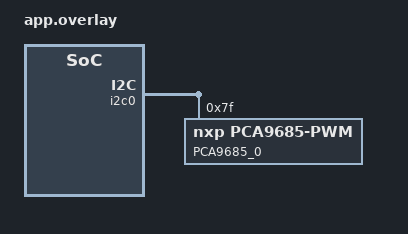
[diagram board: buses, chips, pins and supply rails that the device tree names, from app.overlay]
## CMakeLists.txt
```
cmake_minimum_required(VERSION 3.22)
set(CMAKE_EXPORT_COMPILE_COMMANDS ON)
set(BOARD esp32)
find_package(Zephyr REQUIRED HINTS $ENV{ZEPHYR_BASE})
project(SpiderBot)

set(SRCS
    src/main.c
    src/servos.c
    src/gait.c
    src/robot_state.c
    src/threads/tcp_server_thread.c
    src/threads/motors_thread.c
    src/threads/gait_thread.c)

include_directories(app PRIVATE include/)

zephyr_include_directories(${CMAKE_CURRENT_SOURCE_DIR})

# set(KCONFIG_ROOT ${CMAKE_CURRENT_SOURCE_DIR}/Kconfig)

target_sources(app PRIVATE ${SRCS})
```

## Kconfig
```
# Include the base Zephyr Kconfig definitions
rsource "$ZEPHYR_BASE/Kconfig.zephyr"

# Include our Wi-Fi secrets config symbols
rsource "Kconfig.secrets"
```

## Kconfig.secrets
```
menu "Wi-Fi configuration"

config MY_WIFI_SSID
    string "Wi-Fi SSID"
    default ""

config MY_WIFI_PSK
    string "Wi-Fi password"
    default ""

endmenu
```

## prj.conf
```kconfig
#include "config_secrets.conf"
CONFIG_GPIO=y
CONFIG_GPIO_ESP32=y

# Core Zephyr features
CONFIG_NEWLIB_LIBC=y       # Use standard C library (good for float math in gait)
CONFIG_LOG=y               # Enable logging for debugging

# PCA96850
CONFIG_PWM=y               # Enable the generic Zephyr PWM API
CONFIG_I2C=y

# Increase stack size for the main application thread (good practice)
CONFIG_MAIN_STACK_SIZE=4096

# Print floating point value
CONFIG_CBPRINTF_FP_SUPPORT=y

# Accommodate the burst of debug prints.
CONFIG_LOG_BUFFER_SIZE=1024

#WIFI (from https://github.com/craigpeacock/Zephyr_WiFi/blob/main/prj.conf)
CONFIG_WIFI=y
CONFIG_INIT_STACKS=y
CONFIG_NET_L2_WIFI_MGMT=y

CONFIG_NETWORKING=y
CONFIG_NET_IPV4=y
CONFIG_NET_IPV6=y
CONFIG_NET_UDP=y
CONFIG_NET_TCP=y
CONFIG_DNS_RESOLVER=y
CONFIG_DNS_RESOLVER_AI_MAX_ENTRIES=10

CONFIG_NET_SOCKETS=y
CONFIG_HTTP_CLIENT=y

# Use DHCP for IPv4
CONFIG_NET_DHCPV4=y

# Following line must be enabled, otherwise WiFi connection fails with -1.
CONFIG_NET_CONFIG_SETTINGS=y
# Add CONFIG_INIT_TIMEOUT to prevent 30 second timeout when starting:
# [00:00:30.600,250] <err> net_config: Timeout while waiting network interface
# [00:00:30.600,250] <err> net_config: Network initialization failed (-115)
CONFIG_NET_CONFIG_INIT_TIMEOUT=1
#CONFIG_NET_CONFIG_NEED_IPV4=y
#CONFIG_NET_CONFIG_MY_IPV4_ADDR="192.168.0.12"
#CONFIG_NET_CONFIG_MY_IPV4_GW="192.168.0.254"
#CONFIG_NET_CONFIG_NEED_IPV6=y
#CONFIG_NET_CONFIG_MY_IPV6_ADDR="fe80::100"

# Enabling logging can be helpful for debugging
#CONFIG_NET_LOG=y
#CONFIG_WIFI_LOG_LEVEL_ERR=y
#CONFIG_NET_IPV6_LOG_LEVEL_DBG=y

CONFIG_NET_TX_STACK_SIZE=2048
CONFIG_NET_RX_STACK_SIZE=2048

CONFIG_NET_PKT_RX_COUNT=10
CONFIG_NET_PKT_TX_COUNT=10

CONFIG_NET_BUF_RX_COUNT=20
CONFIG_NET_BUF_TX_COUNT=20

CONFIG_NET_MAX_CONTEXTS=10

# Added to prevent error with missing #include <ethernet/eth_stats.h> for esp_wifi_drv.c
# Adding this line will cause CMAKE Warning: No SOURCES given to Zephyr library: drivers__ethernet
# Just ignore.
CONFIG_NET_L2_ETHERNET=y
CONFIG_PRINTK_BUFFER_SIZE=2048
```

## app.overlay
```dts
/*
 * Get a reference to the I2C bus.
 */
&i2c0 {
	/* Declare the PCA9685 device on the I2C bus */
	pca9685: pca9685@7f {
		compatible = "nxp,pca9685-pwm";
		reg = <0x7f>; /* PCA9685 defaults I2C address */
		#pwm-cells = <2>;
		label = "PCA9685_0";
	};
};
```

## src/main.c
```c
#include "robot_state.h"
#include "servos.h"
#include <zephyr/device.h>
#include <zephyr/devicetree.h>
#include <zephyr/drivers/pwm.h>
#include <zephyr/kernel.h>
#include <zephyr/logging/log.h>

LOG_MODULE_REGISTER(ServoApp, LOG_LEVEL_DBG);

void main(void)
{
    init_robot_state();
    if (init_servos() < 0)
        return;

    while (true)
    {
        k_sleep(K_SECONDS(5));
    }
}
```

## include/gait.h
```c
#ifndef GAIT
#define GAIT

void sit(unsigned int step);
void stand(unsigned int step);
void step_forward(unsigned int step);
void turn_left(unsigned int step);
void turn_right(unsigned int step);
void step_back(unsigned int step);
void hand_shake(unsigned int step);
void hand_wave(unsigned int step);

// cmd table
struct cmd_entry
{
        const char* name;
        void (*fn)(unsigned int step);
};

static const struct cmd_entry cmd_table[] = {
    {"sit", sit},          {"stand", stand},   {"step_forward", step_forward},
    {"sb", step_back},     {"tl", turn_left},  {"tr", turn_right},
    {"shake", hand_shake}, {"wave", hand_wave}};

// motor_thread.c
void cartesian_to_polar(volatile double* alpha, volatile double* beta,
                        volatile double* gamma, volatile double x,
                        volatile double y, volatile double z);
void polar_to_servo(int leg, double alpha, double beta, double gamma);

#endif // !GAIT
```

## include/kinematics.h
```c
#ifndef KINEMATICS_H
#define KINEMATICS_H

#include <stdbool.h>
#include <stddef.h>

// --- CORE CONSTANTS (Simple definition for use in C files) ---
// Define PI as a macro or const variable. We'll use const for type safety.
extern const double PI_CONST;

// --- STRUCTURE DEFINITION ---
// This struct holds all robot dimensions, calculated constants, and runtime
// state.
typedef struct
{
        // --- IMMUTABLE CONSTANTS (Calculated at Runtime, but fixed) ---
        // Physical Dimensions (Read-only once initialized)
        double length_a, length_b, length_c;
        double length_side, z_absolute;

        // Movement Parameters (Read-only once initialized)
        double z_default, z_up, z_boot;
        double x_default, x_offset;
        double y_start, y_step;

        // Derived Turn Constants (Calculated in init function)
        double temp_a, temp_b, temp_c;
        double temp_alpha;
        double turn_x0, turn_y0, turn_x1, turn_y1;

        // Speed Constants
        double speed_multiple;
        double spot_turn_speed;
        double leg_move_speed;

        double body_move_speed;
        double stand_seat_speed;

        // --- MUTABLE STATE (Volatile variables used by Control Thread) ---
        volatile double site_now[4][3];    // Real-time coordinates
        volatile double site_expect[4][3]; // Expected coordinates

        double temp_speed[4][3]; // Each axis' speed
        volatile int rest_counter;
        double move_speed;

        // Marker to ensure initialization has run
        bool initialized;

} robot_state_t;

// --- GLOBAL INSTANCE DECLARATION ---
// This is the single global object that everything will access.
extern robot_state_t g_state;

// --- PUBLIC FUNCTIONS ---
// Function to perform all runtime calculations and state initialization
void kinematics_init(void);
void kinematics_print_debug(void);

// Utils for movement calculations
void set_site(int leg, double x, double y, double z);
void cartesian_to_polar(volatile double* alpha, volatile double* beta,
                        volatile double* gamma, volatile double x,
                        volatile double y, volatile double z);
void polar_to_servo(int leg, double alpha, double beta, double gamma);

#endif
```

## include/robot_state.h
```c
#ifndef KINEMATICS_H
#define KINEMATICS_H

#include "zephyr/kernel.h"
#include <stdbool.h>
#include <stddef.h>

#define EPSILON 0.001

extern const double PI_CONST;
extern const double KEEP;
extern struct k_mutex g_state_mutex;
extern struct k_sem motion_finished;

/**
 * @typedef robot_state_t
 * @brief structure to hold global configs and leg positions
 *
 */
typedef struct robot_state_t
{

        // --- IMMUTABLE CONSTANTS (Calculated at Runtime, but fixed) ---
        // Physical Dimensions (Read-only once initialized)
        double length_a, length_b, length_c;
        double length_side, z_absolute;

        // Movement Parameters (Read-only once initialized)
        double z_default, z_up, z_boot;
        double x_default, x_offset;
        double y_start, y_step;

        // Derived Turn Constants (Calculated in init function)
        double temp_a, temp_b, temp_c;
        double temp_alpha;
        double turn_x0, turn_y0, turn_x1, turn_y1;

        // Speed Constants
        double speed_multiple;
        double spot_turn_speed;
        double leg_move_speed;

        double body_move_speed;
        double stand_seat_speed;

        // --- MUTABLE STATE (Volatile variables used by Control Thread) ---
         double site_now[4][3];    // Real-time coordinates
         double site_expect[4][3]; // Expected coordinates

        double temp_speed[4][3]; // Each axis' speed
        double move_speed;

        // Marker to ensure initialization has run
        bool initialized;

} robot_state_t;

// --- GLOBAL INSTANCE DECLARATION ---
extern robot_state_t g_state;

void init_robot_state(void);
void print_robot_state(void);
void set_site(int leg, double x, double y, double z);

#endif
```

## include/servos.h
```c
#include <stddef.h>
#include <zephyr/drivers/pwm.h>

// Structural constants
#define NB_LEGS 4
#define NB_JOINTS 3
#define NB_SERVOS 12
#define PERIOD_SERVO 20000000

// Default values from Arduino Servo.cpp for calibration
#define SERVO_PULSE_MIN_NS 544000  // 544 microseconds
#define SERVO_PULSE_MAX_NS 2400000 // 2400 microseconds

// The center is the average of min and max
#define SERVO_PULSE_CENTER_NS                                                  \
    ((SERVO_PULSE_MIN_NS + SERVO_PULSE_MAX_NS) / 2) // 1472000 ns

int init_servos(void);
void set_angle(uint8_t leg_id, uint8_t joint_id, uint8_t angle);
void center_all_servos(void);
```

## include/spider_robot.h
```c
#ifndef GAIT
#define GAIT

/*=====================================================================*
 *                       Gait moves & cmds
 *=====================================================================*/
void set_site(int leg, double x, double y, double z);
void wait_all_reach(void);

void sit(unsigned int step);
void stand(unsigned int step);
void step_forward(unsigned int step);
void turn_left(unsigned int step);
void turn_right(unsigned int step);
void step_back(unsigned int step);
void hand_shake(unsigned int step);
void hand_wave(unsigned int step);

struct cmd_entry
{
        const char* name;
        void (*fn)(unsigned int step);
};

/*=====================================================================*
 *                          TCP command
 *=====================================================================*/
#define RX_BUF_SIZE 32

struct tcp_command
{
        char command[RX_BUF_SIZE];
        int times;
};
extern struct k_msgq tcp_command_q;

/*=====================================================================*
 *                           Kinematics
 *=====================================================================*/
void cartesian_to_polar(double* alpha, double* beta, double* gamma, double x,
                        double y, double z);
void polar_to_servo(int leg, double alpha, double beta, double gamma);

#endif // !GAIT
```

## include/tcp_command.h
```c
#ifndef TCP_COMMAND_H
#define TCP_COMMAND_H

#define RX_BUF_SIZE 32

struct tcp_command
{
        char command[RX_BUF_SIZE];
        int times;
};
extern struct k_msgq tcp_command_q;

#endif // !TCP_COMMAND_H
```

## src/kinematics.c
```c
#include "kinematics.h"
#include <math.h>
#include <servos.h>
#include <zephyr/logging/log.h>

LOG_MODULE_REGISTER(Kinematics, LOG_LEVEL_INF);
const double PI_CONST = 3.1415926;
const double KEEP = 255.0;

// --- GLOBAL INSTANCE DEFINITION ---
// 1. Define the single global instance (Initialized to zero/defaults)
robot_state_t g_state = {

    // Initialize simple constants directly where possible
    .length_a = 55.0,

    .length_b = 77.5,       .length_c = 27.5,        .length_side = 71.0,
    .z_absolute = -28.0,

    .z_default = -50.0,     .z_up = -30.0,           .x_default = 62.0,
    .y_step = 40.0,

    .speed_multiple = 1.0,  .spot_turn_speed = 4.0,  .leg_move_speed = 8.0,
    .body_move_speed = 3.0, .stand_seat_speed = 1.0,
};

/**
 * @brief inits the fields that need runtime initialisation (using maths
 * functions)
 */
void kinematics_init(void)
{
    if (g_state.initialized)
    {
        LOG_DBG("Kinematics already initialized.");

        return;
    }

    g_state.z_boot = g_state.z_absolute;

    // Runtime calculations
    double val_2x_l = (2.0 * g_state.x_default + g_state.length_side);

    g_state.temp_a = sqrt(pow(val_2x_l, 2.0) + pow(g_state.y_step, 2.0));

    g_state.temp_b =
        2.0 * (g_state.y_start + g_state.y_step) + g_state.length_side;

    g_state.temp_c = sqrt(
        pow(val_2x_l, 2.0) +
        pow(2.0 * g_state.y_start + g_state.y_step + g_state.length_side, 2.0));

    g_state.temp_alpha =
        acos((pow(g_state.temp_a, 2.0) + pow(g_state.temp_b, 2.0) -
              pow(g_state.temp_c, 2.0)) /
             (2.0 * g_state.temp_a * g_state.temp_b));

    // site for turn
    g_state.turn_x1 = (g_state.temp_a - g_state.length_side) / 2.0;
    g_state.turn_y1 = g_state.y_start + g_state.y_step / 2.0;

    g_state.turn_x0 =
        g_state.turn_x1 - g_state.temp_b * cos(g_state.temp_alpha);
    g_state.turn_y0 = g_state.temp_b * sin(g_state.temp_alpha) -
                      g_state.turn_y1 - g_state.length_side;

    g_state.initialized = true;
    LOG_INF("Kinematics constants calculated and state initialized.");
}

/**
 * @brief Prints all fields of the global kinematics structure for verification.
 * * Note: Uses LOG_INF level for visibility, ensuring the output is easy to
 * read.
 */
void kinematics_print_debug(void)
{
    if (!g_state.initialized)
    {
        LOG_WRN("Kinematics not initialized. Skipping debug print.");
        return;
    }

    LOG_INF("--- Robot Kinematics Debug Dump ---");

    // 1. Core Dimensions
    LOG_INF("Core Dimensions:");
    LOG_INF("  Length A/B/C: %.2f / %.2f / %.2f", (double)g_state.length_a,
            (double)g_state.length_b, (double)g_state.length_c);
    LOG_INF("  Length Side: %.2f", (double)g_state.length_side);
    LOG_INF("  Z Absolute/Boot: %.2f / %.2f", (double)g_state.z_absolute,
            (double)g_state.z_boot);

    // 2. Movement Parameters
    LOG_INF("Movement Parameters:");
    LOG_INF("  X Default/Offset: %.2f / %.2f", (double)g_state.x_default,
            (double)g_state.x_offset);
    LOG_INF("  Y Start/Step: %.2f / %.2f", (double)g_state.y_start,

            (double)g_state.y_step);

    // 3. Calculated Constants (Crucial for verification)
    LOG_INF("Calculated Turn Constants:");
    LOG_INF("  Temp A/B/C: %.3f / %.3f / %.3f", (double)g_state.temp_a,
            (double)g_state.temp_b, (double)g_state.temp_c);
    LOG_INF("  Temp Alpha (rad): %.4f", (double)g_state.temp_alpha);
    LOG_INF("  Turn X0/Y0: %.2f / %.2f",

            (double)g_state.turn_x0, (double)g_state.turn_y0);
    LOG_INF("  Turn X1/Y1: %.2f / %.2f", (double)g_state.turn_x1,
            (double)g_state.turn_y1);

    // 4. Positions
    LOG_INF("Initial State (Site Expect/Now):");
    for (int i = 0; i < NB_LEGS; i++)
    {
        LOG_INF("  Leg %d: Expect: (%.1f, %.1f, %.1f) | Current: (%.1f, %.1f, "
                "%.1f)",
                i,

                (double)g_state.site_expect[i][0],
                (double)g_state.site_expect[i][1],
                (double)g_state.site_expect[i][2],

                (double)g_state.site_now[i][0],

                (double)g_state.site_now[i][1], (double)g_state.site_now[i][2]);
    }

    LOG_INF("-------------------------------------");
}

void set_site(int leg, double x, double y, double z)
{
    double length_x = 0, length_y = 0, length_z = 0;

    if (x != KEEP)
        length_x = x - g_state.site_now[leg][0];
    if (y != KEEP)
        length_y = y - g_state.site_now[leg][1];
    if (z != KEEP)
        length_z = z - g_state.site_now[leg][2];

    double length =
        sqrt(pow(length_x, 2) + pow(length_y, 2) + pow(length_z, 2));

    g_state.temp_speed[leg][0] =
        length_x / length * g_state.move_speed * g_state.speed_multiple;
    g_state.temp_speed[leg][1] =
        length_y / length * g_state.move_speed * g_state.speed_multiple;
    g_state.temp_speed[leg][2] =
        length_z / length * g_state.move_speed * g_state.speed_multiple;

    if (x != KEEP)
        g_state.site_expect[leg][0] = x;
    if (y != KEEP)
        g_state.site_expect[leg][1] = y;
    if (z != KEEP)
        g_state.site_expect[leg][2] = z;
}

void cartesian_to_polar(volatile double* alpha, volatile double* beta,
                        volatile double* gamma, volatile double x,
                        volatile double y, volatile double z)
{
    // calculate w-z degree
    double v, w;
    w = (x >= 0 ? 1 : -1) * (sqrt(pow(x, 2) + pow(y, 2)));
    v = w - g_state.length_c;
    *alpha =
        atan2(z, v) + acos((pow(g_state.length_a, 2) -
                            pow(g_state.length_b, 2) + pow(v, 2) + pow(z, 2)) /
                           2 / g_state.length_a / sqrt(pow(v, 2) + pow(z, 2)));
    *beta = acos((pow(g_state.length_a, 2) + pow(g_state.length_b, 2) -
                  pow(v, 2) - pow(z, 2)) /
                 2 / g_state.length_a / g_state.length_b);
    // calculate x-y-z degree
    *gamma = (w >= 0) ? atan2(y, x) : atan2(-y, -x);

    // trans degree pi->180
    *alpha = *alpha / PI_CONST * 180;
    *beta = *beta / PI_CONST * 180;
    *gamma = *gamma / PI_CONST * 180;
}

#pragma clang diagnostic push
#pragma clang diagnostic ignored "-Wself-assign"
/*
  - trans site from polar to microservos
  - mathematical model map to fact
  - the errors saved in eeprom will be add
   ---------------------------------------------------------------------------*/
void polar_to_servo(int leg, double alpha, double beta, double gamma)
{
    if (leg == 0)
    {
        alpha = 90 - alpha;
        beta = beta;
        gamma += 90;
    }
    else if (leg == 1)
    {
        alpha += 90;
        beta = 180 - beta;
        gamma = 90 - gamma;
    }
    else if (leg == 2)

    {
        alpha += 90;
        beta = 180 - beta;
        gamma = 90 - gamma;
    }
    else if (leg == 3)
    {
        alpha = 90 - alpha;
        beta = beta;
        gamma += 90;
    }

    set_angle(GET_SERVO_SPEC(leg, 0), alpha);
    set_angle(GET_SERVO_SPEC(leg, 1), beta);
    set_angle(GET_SERVO_SPEC(leg, 2), gamma);
}
#pragma clang diagnostic pop
```

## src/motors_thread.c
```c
#include "gait.h"
#include "robot_state.h"
#include "servos.h"
#include <math.h>
#include <zephyr/kernel.h>
#include <zephyr/logging/log.h>

#define MOTOR_THREAD_PRIORITY 1
#define MOTOR_THREAD_STACK_SIZE 1024

LOG_MODULE_REGISTER(motors_thread, LOG_LEVEL_DBG);
K_SEM_DEFINE(motion_finished, 0, 1);

/**
 * @brief update the legs positions every 20ms. When the positions of the legs
 * reach the expected,
 */
void motors_thread(void)
{
    static double alpha, beta, gamma;
    k_timeout_t period = K_MSEC(20);

    while (true)
    {
        if (k_mutex_lock(&g_state_mutex, K_MSEC(10)) != 0)
        {
            LOG_ERR("Fail locking the mutex");
            continue;
        }

        for (int leg = 0; leg < 4; leg++)
        {
            for (int joint = 0; joint < 3; joint++)
            {
                double current_pos = g_state.site_now[leg][joint];
                double target_pos = g_state.site_expect[leg][joint];
                double remaining_dist = target_pos - current_pos;

                // Only move if not already at the target
                if (fabs(remaining_dist) > EPSILON)
                {
                    double step_dist = g_state.temp_speed[leg][joint];

                    // Prevent overshooting in the final step
                    if (fabs(remaining_dist) < fabs(step_dist))
                        g_state.site_now[leg][joint] = target_pos;
                    else
                        g_state.site_now[leg][joint] += step_dist;
                }
                else
                    g_state.site_now[leg][joint] = target_pos;
            }
            cartesian_to_polar(&alpha, &beta, &gamma, g_state.site_now[leg][0],
                               g_state.site_now[leg][1],
                               g_state.site_now[leg][2]);
            polar_to_servo(leg, alpha, beta, gamma);
        }

        if (k_mutex_unlock(&g_state_mutex) != 0)
            LOG_ERR("Fail unlocking the mutex");

        k_sleep(period);
    }
}

K_THREAD_DEFINE(motor_thread_id, MOTOR_THREAD_STACK_SIZE, motors_thread, NULL,
                NULL, NULL, MOTOR_THREAD_PRIORITY, K_USER, 0);

void cartesian_to_polar(volatile double* alpha, volatile double* beta,
                        volatile double* gamma, volatile double x,
                        volatile double y, volatile double z)
{
    // calculate w-z degree
    double v, w;
    w = (x >= 0 ? 1 : -1) * (sqrt(pow(x, 2) + pow(y, 2)));
    v = w - g_state.length_c;
    *alpha =
        atan2(z, v) + acos((pow(g_state.length_a, 2) -
                            pow(g_state.length_b, 2) + pow(v, 2) + pow(z, 2)) /
                           2 / g_state.length_a / sqrt(pow(v, 2) + pow(z, 2)));
    *beta = acos((pow(g_state.length_a, 2) + pow(g_state.length_b, 2) -
                  pow(v, 2) - pow(z, 2)) /
                 2 / g_state.length_a / g_state.length_b);
    // calculate x-y-z degree
    *gamma = (w >= 0) ? atan2(y, x) : atan2(-y, -x);

    // trans degree pi->180
    *alpha = *alpha / PI_CONST * 180;
    *beta = *beta / PI_CONST * 180;
    *gamma = *gamma / PI_CONST * 180;
}

/*
  - trans site from polar to microservos
  - mathematical model map to fact
  - the errors saved in eeprom will be add
   ---------------------------------------------------------------------------*/
void polar_to_servo(int leg, double alpha, double beta, double gamma)
{
    if (leg == 0)
    {
        alpha = 90 - alpha;
        // beta = beta;
        gamma += 90;
    }
    else if (leg == 1)
    {
        alpha += 90;
        beta = 180 - beta;
        gamma = 90 - gamma;
    }
    else if (leg == 2)

    {
        alpha += 90;
        beta = 180 - beta;
        gamma = 90 - gamma;
    }
    else if (leg == 3)
    {
        alpha = 90 - alpha;
        // beta = beta;
        gamma += 90;
    }

    // TODO: replace by PCA9685 logic
    // set_angle(GET_SERVO_SPEC(leg, 0), alpha);
    // set_angle(GET_SERVO_SPEC(leg, 1), beta);
    // set_angle(GET_SERVO_SPEC(leg, 2), gamma);
}
```

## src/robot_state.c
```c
/*======================================================================
 * File:    robot_state.c
 * Date:    2025-10-07
 * Purpose: Global state shared by the motors and gait thread to compute the
 *legs position and move them. The structure contains hardcoded values
 *calculated by measuring the robot's body and variables that need run time
 *computation.
 *====================================================================*/
#include "robot_state.h"
#include "zephyr/kernel.h"
#include <math.h>
#include <servos.h>
#include <zephyr/logging/log.h>

LOG_MODULE_REGISTER(robot_state, LOG_LEVEL_DBG);
const double PI_CONST = 3.1415926;
const double KEEP = 255.0;
K_MUTEX_DEFINE(g_state_mutex);

/**
 * @brief Global instance of the state
 */
robot_state_t g_state = {

    // Initialize simple constants directly where possible
    .length_a = 55.0,

    .length_b = 77.5,       .length_c = 27.5,        .length_side = 71.0,
    .z_absolute = -28.0,

    .z_default = -50.0,     .z_up = -30.0,           .x_default = 62.0,
    .y_step = 40.0,

    .speed_multiple = 1.0,  .spot_turn_speed = 4.0,  .leg_move_speed = 8.0,
    .body_move_speed = 3.0, .stand_seat_speed = 1.0,
};

/**
 * @brief inits the fields that need runtime initialisation
 */
void init_robot_state(void)
{
    if (g_state.initialized)
    {
        LOG_DBG("State already initialized.");

        return;
    }

    g_state.z_boot = g_state.z_absolute;

    // Runtime calculations
    double val_2x_l = (2.0 * g_state.x_default + g_state.length_side);

    g_state.temp_a = sqrt(pow(val_2x_l, 2.0) + pow(g_state.y_step, 2.0));

    g_state.temp_b =
        2.0 * (g_state.y_start + g_state.y_step) + g_state.length_side;

    g_state.temp_c = sqrt(
        pow(val_2x_l, 2.0) +
        pow(2.0 * g_state.y_start + g_state.y_step + g_state.length_side, 2.0));

    g_state.temp_alpha =
        acos((pow(g_state.temp_a, 2.0) + pow(g_state.temp_b, 2.0) -
              pow(g_state.temp_c, 2.0)) /
             (2.0 * g_state.temp_a * g_state.temp_b));

    // site for turn
    g_state.turn_x1 = (g_state.temp_a - g_state.length_side) / 2.0;
    g_state.turn_y1 = g_state.y_start + g_state.y_step / 2.0;

    g_state.turn_x0 =
        g_state.turn_x1 - g_state.temp_b * cos(g_state.temp_alpha);
    g_state.turn_y0 = g_state.temp_b * sin(g_state.temp_alpha) -
                      g_state.turn_y1 - g_state.length_side;

    g_state.initialized = true;
    LOG_INF("State initialized.");
}

/**
 * @brief Prints all fields of the global state structure for verification.
 */
void print_robot_state(void)
{
    if (!g_state.initialized)
    {
        LOG_WRN("State not initialized. Skipping debug print.");
        return;
    }

    LOG_INF("--- Robot State Debug Dump ---");

    // 1. Core Dimensions
    LOG_INF("Core Dimensions:");
    LOG_INF("  Length A/B/C: %.2f / %.2f / %.2f", (double)g_state.length_a,
            (double)g_state.length_b, (double)g_state.length_c);
    LOG_INF("  Length Side: %.2f", (double)g_state.length_side);
    LOG_INF("  Z Absolute/Boot: %.2f / %.2f", (double)g_state.z_absolute,
            (double)g_state.z_boot);

    // 2. Movement Parameters
    LOG_INF("Movement Parameters:");
    LOG_INF("  X Default/Offset: %.2f / %.2f", (double)g_state.x_default,
            (double)g_state.x_offset);
    LOG_INF("  Y Start/Step: %.2f / %.2f", (double)g_state.y_start,

            (double)g_state.y_step);

    // 3. Calculated Constants (Crucial for verification)
    LOG_INF("Calculated Turn Constants:");
    LOG_INF("  Temp A/B/C: %.3f / %.3f / %.3f", (double)g_state.temp_a,
            (double)g_state.temp_b, (double)g_state.temp_c);
    LOG_INF("  Temp Alpha (rad): %.4f", (double)g_state.temp_alpha);
    LOG_INF("  Turn X0/Y0: %.2f / %.2f",

            (double)g_state.turn_x0, (double)g_state.turn_y0);
    LOG_INF("  Turn X1/Y1: %.2f / %.2f", (double)g_state.turn_x1,
            (double)g_state.turn_y1);

    // 4. Positions
    LOG_INF("Initial State (Site Expect/Now):");
    for (int i = 0; i < NB_LEGS; i++)
    {
        LOG_INF("  Leg %d: Expect: (%.1f, %.1f, %.1f) | Current: (%.1f, %.1f, "
                "%.1f)",
                i,

                (double)g_state.site_expect[i][0],
                (double)g_state.site_expect[i][1],
                (double)g_state.site_expect[i][2],

                (double)g_state.site_now[i][0],

                (double)g_state.site_now[i][1], (double)g_state.site_now[i][2]);
    }

    LOG_INF("-------------------------------------");
}
```

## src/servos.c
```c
/*======================================================================
 * File:    servos.c
 * Date:    2025-10-07
 * Purpose: Contains the code that interact with the pwm driver. All writes of
 *pulse are done to a single interface (set_angle()).
 *====================================================================*/
#include "zephyr/device.h"
#include "zephyr/drivers/pwm.h"
#include "zephyr/logging/log.h"
#include "zephyr/sys/util.h"
#include <servos.h>
#include <stddef.h>
#include <stdint.h>
#include <sys/errno.h>

LOG_MODULE_REGISTER(Servo, LOG_LEVEL_DBG);

const struct device* pwm = DEVICE_DT_GET(DT_NODELABEL(pca9685));

// servo_channel_map[leg_id][joint_id] = channel;
static const uint8_t servo_channel_map[NB_LEGS][NB_JOINTS] = {
    //{femur, tibia, coxa}
    {15, 14, 13}, // Leg 0 (FRONT_LEFT)
    {12, 11, 10}, // Leg 1 (BOTTOM_LEFT)
    {0, 1, 2},    // Leg 2 (FRONT_RIGHT)
    {3, 4, 5}};   // Leg 3 (BOTTOM_RIGHT)

int init_servos(void)
{
    if (!device_is_ready(pwm))
    {
        LOG_ERR("PWM device %s is not ready", pwm->name);
        return -ENODEV;
    }

    int ret = pwm_set(pwm, 0, PERIOD_SERVO, 0, 0);
    if (ret < 0)
    {
        LOG_ERR("Failed tp set initial PWM period (%d)", ret);
        return ret;
    }
    return 0;
}

/**
 * @brief maps the angle to pulse and the servo ids to the right channel and
 * write it.
 *
 * @param leg_id
 * @param joint_id
 * @param angle
 */
void set_angle(uint8_t leg_id, uint8_t joint_id, uint8_t angle)
{
    CLAMP(angle, 0, 180);

    uint32_t pulse = SERVO_PULSE_MIN_NS +
                     (angle * (SERVO_PULSE_MAX_NS - SERVO_PULSE_MIN_NS) / 180);

    int ret = pwm_set(pwm, servo_channel_map[leg_id][joint_id], PERIOD_SERVO,
                      pulse, 0);
    if (ret < 0)
        LOG_ERR("Failed setting pwm for leg %d joint %d", leg_id, joint_id);
}

/**
 * @brief For calibration purpose, can be run when the servos are not locked
 * with the horn to set the robot initial positions (see:
 * https://www.instructables.com/DIY-Spider-RobotQuad-robot-Quadruped/)
 */
void center_all_servos(void)
{
    for (int leg = 0; leg < NB_LEGS; leg++)
        for (int joint = 0; joint < NB_JOINTS; joint++)
            set_angle(leg, joint, 90);
}
```
